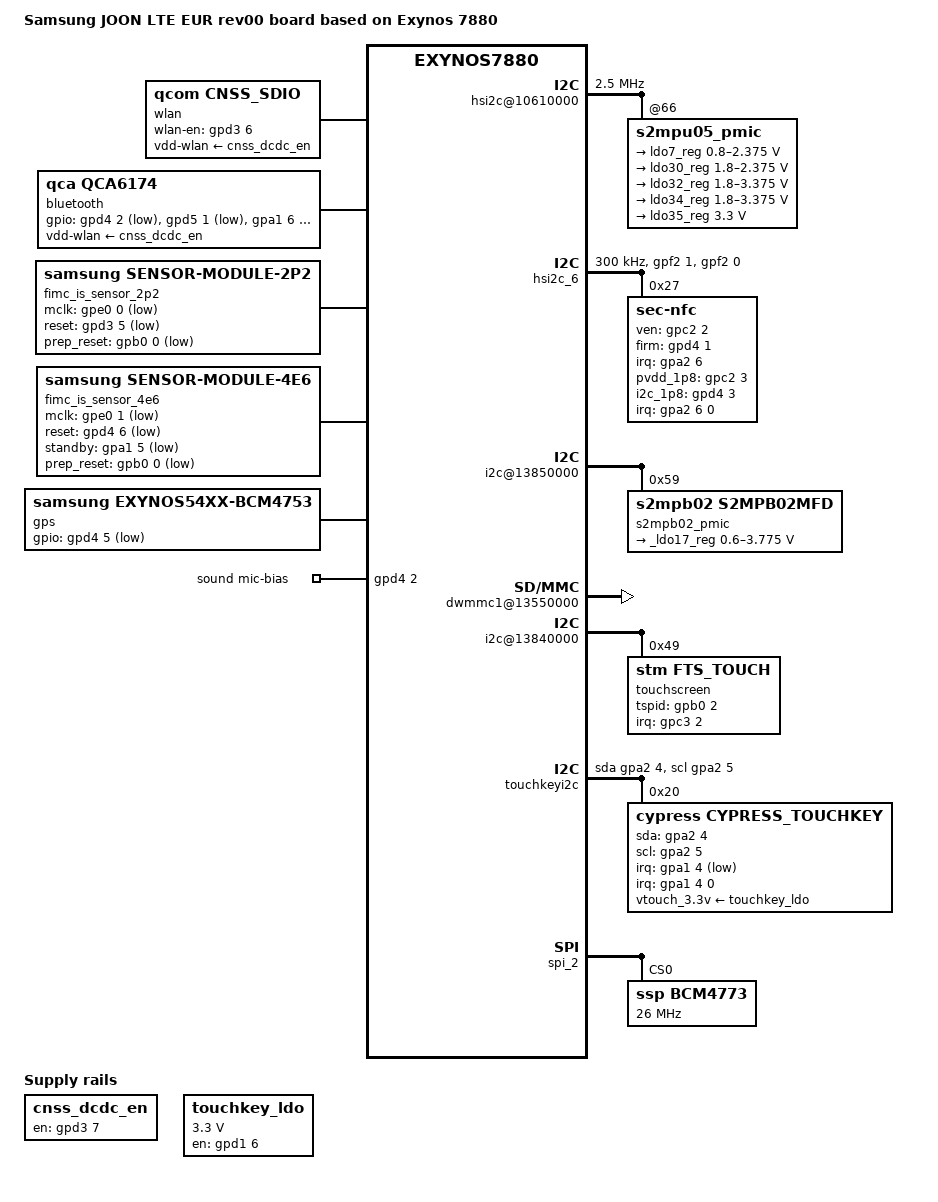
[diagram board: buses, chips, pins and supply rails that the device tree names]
/*
 * SAMSUNG Exynos7880 Universal board device tree source
 *
 * Copyright (c) 2015 Samsung Electronics Co., Ltd.
 *		http://www.samsung.com
 *
 * This program is free software; you can redistribute it and/or modify
 * it under the terms of the GNU General Public License version 2 as
 * published by the Free Software Foundation.
*/

/dts-v1/;
#include "exynos7880-joonlte_common.dtsi"
#include "exynos7880-joonlte_eur_open_gpio_00.dtsi"
#include "exynos7880-joonlte_eur_open_battery_00.dts"
#include "exynos7880-joonlte_fingerprint-sensor_00.dtsi"

/ {
	model = "Samsung JOON LTE EUR rev00 board based on Exynos 7880";
	model_info-chip = <7880>;
	model_info-platform = "android";
	model_info-subtype = "samsung";
	model_info-hw_rev = <0>;
	model_info-hw_rev_end = <0>;
	compatible = "samsung, JOON LTE EUR OPEN 00", "samsung,exynos7880";

	hsi2c@10610000 {
		status = "okay";
		samsung,hs-mode;
		clock-frequency = <2500000>;
		samsung,hsi2c-batcher;

		s2mpu05_pmic@66 {
			regulators {
				ldo7_reg: LDO7 {
					regulator-name = "vdd_ldo7";
					regulator-min-microvolt = <800000>;
					regulator-max-microvolt = <2375000>;
					regulator-boot-on;
					regulator-always-on;
					regulator-ramp-delay = <12000>;
					regulator-initial-mode = <1>;
				};

				ldo30_reg: LDO30 {
					regulator-name = "tsp_io";
					regulator-min-microvolt = <1800000>;
					regulator-max-microvolt = <2375000>;
					regulator-boot-on;
					regulator-always-on;
					regulator-ramp-delay = <12000>;
					regulator-initial-mode = <3>;
				};

				ldo32_reg: LDO32 {
					regulator-name = "vdd_ldo32";
					regulator-min-microvolt = <1800000>;
					regulator-max-microvolt = <3375000>;
					regulator-always-on;
					regulator-ramp-delay = <12000>;
					regulator-initial-mode = <1>;
				};

				ldo34_reg: LDO34 {
					regulator-name = "vdd_ldo34";
					regulator-min-microvolt = <1800000>;
					regulator-max-microvolt = <3375000>;
					regulator-always-on;
					regulator-ramp-delay = <12000>;
					regulator-initial-mode = <1>;
				};

				ldo35_reg: LDO35 {
					regulator-name = "VDD_MOTOR_3P0";
					regulator-min-microvolt = <3300000>;
					regulator-max-microvolt = <3300000>;
					regulator-ramp-delay = <12000>;
				};
			};
		};
	};

	hsi2c_6: hsi2c@138F0000 {
		gpios = <&gpf2 1 0 &gpf2 0 0>;
		status = "okay";
		clock-frequency = <300000>;
		sec-nfc@27 {
			compatible = "sec-nfc";
			reg = <0x27>;
			interrupts = <6 0 0>;
			interrupt-parent = <&gpa2>;

			sec-nfc,ven-gpio = <&gpc2 2 0>;
			sec-nfc,firm-gpio = <&gpd4 1 0>;
			sec-nfc,irq-gpio = <&gpa2 6 0>;
			sec-nfc,pvdd_1p8-gpio = <&gpc2 3 0>;
			sec-nfc,i2c_1p8-gpio = <&gpd4 3 0>;

			pinctrl-names = "default";
			pinctrl-0 = <&nfc_firm &nfc_pd &nfc_int &nfc_vdd_en>;
		};
	};

	i2c@13850000 {
		status = "okay";
		s2mpb02_pmic@59 {
			compatible = "s2mpb02,s2mpb02mfd";
			reg = <0x59>;

			s2mpb02,wakeup;
			pinctrl-names = "default";
			pinctrl-0 = <&sub_pmic_irq>;

			regulators {

				_ldo17_reg: s2mpb02-ldo17 {
					regulator-min-microvolt = <600000>;
					regulator-max-microvolt = <3775000>;
					regulator-always-on;
					regulator-boot-on;
				};

			};
		};
	};

	dsim_0: dsim@0x14800000 {
		gpios = <&gpd3 4 0x1>, <&gpb0 1 0x1>;
	};

	cnss_dcdc_en: cnss_dcdc_en {
		compatible = "regulator-fixed";
		regulator-name = "cnss_dcdc_en";
		startup-delay-us = <4000>;
		enable-active-high;
		gpio = <&gpd3 7 0>;
	};

	wlan {
		compatible = "qcom,cnss_sdio";
		wlan-en-gpio = <&gpd3 6 0>; /* WLAN_EN */
		wlan-host-wake = <&gpa2 2 0>; /* WLAN_HOST_WAKE */
		vdd-wlan-supply = <&cnss_dcdc_en>; /* DCDC_EN regulator */
		pinctrl-names = "default";
		pinctrl-0 = <&cnss_wlanen &cfg_wlanhostwake>;
		status = "okay";
	};

	pinctrl@139B0000 {
		cnss_wlanen: cnss-wlanen  {       /* WLAN_EN */
			samsung,pins = "gpd3-6";
			samsung,pin-function = <1>;
			samsung,pin-pud = <0>;
			samsung,pin-drv = <3>;
			samsung,pin-con-pdn = <3>;
			samsung,pin-pud-pdn = <0>;
			samsung,pin-val = <0>;
		};
	};

	dwmmc1@13550000 {
		status = "okay";
		num-slots = <1>;
		channel = <1>;
		fixed_voltage;
		/*clock-gate;*/
		enable-cclk-on-suspend;
		caps-control;
		supports-highspeed;
		supports-4bit;
		sd-uhs-sdr104;
		keep-power-in-suspend;
		pm-ignore-notify;
		card-detect-type-external;
		use-broken-voltage;
		use-fine-tuning;
		fifo-depth = <0x40>;
		card-detect-delay = <200>;
		qos_int_level = <468000>;
		samsung,dw-mshc-ciu-div = <3>;
		samsung,dw-mshc-sdr-timing = <3 0 2 0>;
		samsung,dw-mshc-ddr-timing = <3 0 2 1>;
		clk_pin = "gpr2-0";
		clk_addr = "13750000.pinctrl";
		clk_val = <0x2>;
		clk_str_num = <4>;
		num-ref-clks = <8>;
		ciu_clkin = <25 50 50 100 200 100 200 400>;
		pinctrl-names = "default";
		pinctrl-0 = <&sd1_clk &sd1_cmd &sd1_bus1 &sd1_bus4>;
		slot@0 {
			reg = <0>;
			bus-width = <4>;
		};
	};

	pinctrl@139B0000 {
		tsp_1p8_en: tsp-1p8-en {
			samsung,pins = "gpb0-2";
			samsung,pin-function = <0x1>;
			samsung,pin-pud = <3>;
			samsung,pin-drv = <0>;
			samsung,pin-val = <1>;
		};
	};

	bluetooth {
		compatible = "qca,qca6174";
		gpios = <&gpd4 2 0x1	/*BT_EN*/
				&gpd5 1 0x1	/*BT_WAKE*/
				&gpa1 6 0xF	/*BT_HOST_WAKE*/ >;
		vdd-wlan-supply = <&cnss_dcdc_en>; /* DCDC_EN regulator */
		pinctrl-names = "default";
		pinctrl-0=<&bt_hostwake &bt_btwake &bt_en>;
		status = "okay";
	};

	i2c@13840000 {
		status = "okay";
		samsung,i2c-max-bus-freq = <400000>;
		touchscreen@49 {
			compatible = "stm,fts_touch";
			reg = <0x49>;
			pinctrl-names = "on_state", "off_state";
			pinctrl-0 = <&attn_irq &tsp_1p8_en>;
			pinctrl-1 = <&attn_input>;
			stm,tspid_gpio = <&gpb0 2 0>;
			stm,irq_gpio = <&gpc3 2 0>;
			stm,irq_type = <8200>;
			stm,max_coords = <1439 2559>;	/* x y */
			stm,regulator_dvdd = "vdd_ldo32";
			stm,regulator_avdd = "vdd_ldo34";
			stm,project_name = "joon", "smdk7880";
			stm,firmware_name = "tsp_stm/stm_v5583.fw";
		};
	};

	pinctrl@139B0000 {
		/* touchkey power */
		cfg_vdd_en: cfg-vdd-en {
			samsung,pins = "gpd1-6";
			samsung,pin-function = <0>;
			samsung,pin-pud = <0>;
			samsung,pin-drv = <0>;
		};
	};

	touchkey_ldo: fixedregulator@20 {
		compatible = "regulator-fixed";
		pinctrl-names = "default";
		pinctrl-0 = <&cfg_vdd_en>;
		regulator-name = "touchkey_ldo";
		regulator-min-microvolt = <3300000>;
		regulator-max-microvolt = <3300000>;
		gpio = <&gpd1 6 0>;
		enable-active-high;
	};

	touchkeyi2c {
		status = "okay";
		compatible = "i2c-gpio";
		pinctrl-names = "on_i2c", "off_i2c";
		pinctrl-0 = <&cfg_gpio>;
		pinctrl-1 = <&cfg_gpio>;

		gpios = <&gpa2 4 0 /* sda */ &gpa2 5 0 /* scl */>;
		i2c-gpio,delay-us = <3>;
		i2c-gpio,timeout-mt = <100>;

		#address-cells = <1>;
		#size-cells = <0>;

		cypress@20 {
			status = "okay";
			compatible = "cypress,cypress_touchkey";
			pinctrl-names = "on_irq", "off_irq", "sub_det";
			pinctrl-0 = <&cfg_irq>;
			pinctrl-1 = <&cfg_input>;
			pinctrl-2 = <&sub_det>;
			reg = <0x20>;
			interrupts = <4 0 0>;
			interrupt-parent = <&gpa1>;
			cypress,sda-gpio = <&gpa2 4 0>;
			cypress,scl-gpio = <&gpa2 5 0>;
			cypress,irq-gpio = <&gpa1 4 1>;
			cypress,sub-det = <&gpa3 0 0>;
			cypress,ic-stabilizing-time = <150>;
			cypress,i2c-gpio = "true";
			cypress,ap-io-power = "true";
			cypress,fw_path = "cypress/cypress_zerof.fw";
			vtouch_3.3v-supply = <&touchkey_ldo>;
		};
	};

	fimc_is_sensor_2p2: fimc-is_sensor_2p2@5A {
		compatible = "samsung,sensor-module-2p2";

		pinctrl-names = "pin0", "pin1", "pin2";
		pinctrl-0 = <>;
		pinctrl-1 = <&fimc_is_flash_host &fimc_is_mclk0_in &fimc_is_mclk2_in>;
		pinctrl-2 = <&fimc_is_flash_host &fimc_is_mclk0_fn &fimc_is_mclk2_fn>;

		position = <0>;	/* rear:0. front:1 */
		id = <0>; /* bns_id */
		mclk_ch = <0>;
		sensor_i2c_ch = <0>; /* i2c 0 */
		sensor_i2c_addr = <0x5A>;

		gpio_mclk = <&gpe0 0 0x1>;
		gpio_reset = <&gpd3 5 0x1>; /* sensor reset */
		gpio_prep_reset = <&gpb0 0 0x1>; /* preprocessor reset */
		status = "okay";

		af {
			product_name = <12>; /* ak7348 */
			i2c_addr = <0x18>;
			i2c_ch = <1>; /* i2c 2 */
	};

		flash {
			product_name = <11>; /* FLASH_GPIO */
			flash_first_gpio = <2>; /* DICO not use first, second gpio value */
			flash_second_gpio = <3>;
		};

		preprocessor {
			product_name = <2>; /* 73c2 */
			spi_channel = <1>;
			i2c_addr = <0x7a>;
			i2c_ch = <0>; /* i2c 0*/
			dma_ch = <2>; /* dma vc2*/
		};
	};

	fimc_is_sensor_4e6: fimc-is_sensor_4e6@6A {
		compatible = "samsung,sensor-module-4e6";

		pinctrl-names = "pin0", "pin1", "pin2";
		pinctrl-0 = <>;
		pinctrl-1 = <&fimc_is_mclk1_in &fimc_is_mclk2_in>;
		pinctrl-2 = <&fimc_is_mclk1_fn &fimc_is_mclk2_fn>;

		position = <1>;	/* Rear:0. Front:1 */
		id = <0>; /* sensor node id */
		mclk_ch = <1>;
		sensor_i2c_ch = <1>;
		sensor_i2c_addr = <0x6A>;

		gpio_mclk = <&gpe0 1 0x1>;
		gpio_reset = <&gpd4 6 0x1>;
		gpio_standby = <&gpa1 5 0x1>;
		gpio_prep_reset = <&gpb0 0 0x1>; /* preprocessor reset */
		status = "okay";

		preprocessor {
			product_name = <2>; /* 73c2 */
			spi_channel = <1>;
			i2c_addr = <0x7a>;
			i2c_ch = <0>; /* i2c 0*/
			dma_ch = <2>; /* dma vc2*/
		};


	};
	/* SENSORHUB */
	spi_2: spi@13930000 {
        #address-cells = <1>;
        #size-cells = <0>;

		pinctrl-names = "default";
		pinctrl-0 = <&spi2_mosi_sck_ssn &spi2_miso>;

		num-cs = <1>;
		status = "okay";

		BCM4773@0 {
			compatible = "ssp,BCM4773";
			reg = <0>;
			spi-max-frequency = <26000000>;
			spi-cpol;
			spi-cpha;
			pinctrl-names = "default";
			pinctrl-0 = <&ssp_host_req &ssp_mcu_req &ssp_mcu_resp>;

			gpio-controller;
            #gpio-cells = <2>;
			ssp-host-req = <&gpa0 1 0x01>;
			ssp-mcu-req = <&gpa3 0 0x01>;
			ssp-mcu-resp = <&gpb0 3 0x00>;
			ssp-acc-position = <0>;
			ssp-mag-position = <0>;
			ssp-sns-combination = <0>;
			ssp,prox-hi_thresh = <2000>;
			ssp,prox-low_thresh = <1400>;
			ssp-ap-rev = <1>;
			ssp-mag-array = <10227 (-404) 215 (-666) 8429 (-61) 853 (-1154) 11138>; /* Only for YAS532 */
			ssp-glass-type = <0>;

			controller-data {
				cs-gpio = <&gpc4 3 0>;
				samsung,spi-feedback-delay = <0>;
				};
			};
	};
	/* GPS */
	gps {
		compatible = "samsung,exynos54xx-bcm4753";

		pinctrl-names = "default";
		pinctrl-0 = <&ssp_gps_pwr_en>;

		gpios = <&gpd4 5 0x1>;
		status = "okay";
	};

        pinctrl@139B0000 {
            /*mcu_resp rev 0.0*/
    	    ssp_mcu_resp: ssp-mcu-resp {
    		samsung,pins = "gpb0-3";
    		samsung,pin-function = <0>;
    		samsung,pin-pud = <3>;
    		samsung,pin-drv = <3>;
    	};
    };
    tmuctrl_2: tmuctrl_G3D@10130000 {
		/* flags, driver_data(index), frequency */
		gpu_cooling_table = < 0 0 1246000
				      0 1 1100000
				      0 2 962000
				      0 3 728000
				      0 4 350000
				      0 5 TABLE_END>;
	};

	decon_board_list: decon_board_list {
		dsim_set_panel_power_enable {
			type = "regulator,enable", "gpio,high", "regulator,enable";
			regulator = "LCD_1P8","LCD_3P0";
			gpios = <&gpb0 1 0x1>;
		};
		dsim_set_panel_power_disable {
			type = "gpio,low", "regulator,disable", "gpio,low", "regulator,disable";
			regulator = "LCD_1P8","LCD_3P0";
			gpios = <&gpd3 4 0x1>, <&gpb0 1 0x1>;
		};
		dsim_reset_panel {
			type = "gpio,high", "delay,usleep", "gpio,low", "delay,usleep", "gpio,high", "delay,usleep";
			gpios = <&gpd3 4 0x1>, <&gpd3 4 0x1>, <&gpd3 4 0x1>;
			delay = <5000 6000>, <5000 6000>, <10000 11000>;
		};
	};

	sound {
		compatible = "samsung,universal7880-cod3026x";
		mic-bias-mode = <3 1 2 0>;
		mic-bias-gpios = <&gpd4 2 0>;
	};

	isa1000 {
		compatible = "isa1000";
		pinctrl-names = "default";
		pinctrl-0 = <&pwm_tout0>;
		isa1000_pdata {
			status = "okay";
			isa1000,max_timeout = <10000>;
			isa1000,pwm_use = <1>;
			isa1000,duty = <34290>;
			isa1000,period = <38100>;
			isa1000,pwm_id = <0>;
			isa1000,gpio_en = <&gpd1 1 0>;
			isa1000,regulator_name = "VDD_MOTOR_3P0";
		};
	};
};
